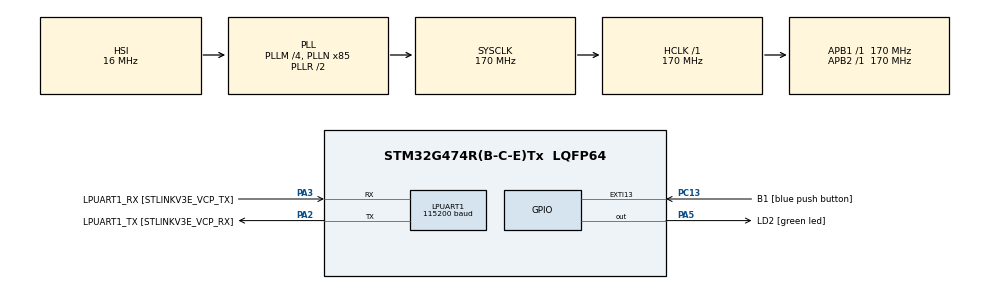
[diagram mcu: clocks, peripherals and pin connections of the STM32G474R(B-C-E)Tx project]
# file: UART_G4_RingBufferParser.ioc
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LPUART1.BaudRate=115200
Mcu.Family=STM32G4
Mcu.Name=STM32G474R(B-C-E)Tx
Mcu.Package=LQFP64
NVIC.EXTI15_10_IRQn=true\:0\:0\:false\:true\:true\:1\:true\:true\:true
NVIC.LPUART1_IRQn=true\:0\:0\:false\:true\:true\:2\:true\:true\:true
NVIC.PriorityGroup=NVIC_PRIORITYGROUP_4
PA13.GPIO_Label=T_SWDIO
PA13.Mode=Trace_Asynchronous_SW
PA13.Signal=SYS_JTMS-SWDIO
PA14.GPIO_Label=T_SWCLK
PA14.Mode=Trace_Asynchronous_SW
PA14.Signal=SYS_JTCK-SWCLK
PA2.GPIO_Label=LPUART1_TX [STLINKV3E_VCP_RX]
PA2.Mode=Multiprocessor_communication
PA2.Signal=LPUART1_TX
PA3.GPIO_Label=LPUART1_RX [STLINKV3E_VCP_TX]
PA3.Mode=Multiprocessor_communication
PA3.Signal=LPUART1_RX
PA5.GPIO_Label=LD2 [green led]
PA5.Signal=GPIO_Output
PB3.GPIO_Label=T_SWO
PB3.Mode=Trace_Asynchronous_SW
PB3.Signal=SYS_JTDO-SWO
PC13.GPIO_Label=B1 [blue push button]
PC13.Signal=GPXTI13
PC14-OSC32_IN.GPIO_Label=RCC_OSC32_IN
PC14-OSC32_IN.Mode=LSE-External-Oscillator
PC14-OSC32_IN.Signal=RCC_OSC32_IN
PC15-OSC32_OUT.GPIO_Label=RCC_OSC32_OUT
PC15-OSC32_OUT.Mode=LSE-External-Oscillator
PC15-OSC32_OUT.Signal=RCC_OSC32_OUT
PF0-OSC_IN.GPIO_Label=RCC_OSC_IN
PF0-OSC_IN.Mode=HSE-External-Oscillator
PF0-OSC_IN.Signal=RCC_OSC_IN
PF1-OSC_OUT.GPIO_Label=RCC_OSC_OUT
PF1-OSC_OUT.Mode=HSE-External-Oscillator
PF1-OSC_OUT.Signal=RCC_OSC_OUT
ProjectManager.HeapSize=0x200
ProjectManager.StackSize=0x400
ProjectManager.TargetToolchain=STM32CubeIDE
RCC.ADC12Freq_Value=170000000
RCC.ADC345Freq_Value=170000000
RCC.AHBFreq_Value=170000000
RCC.APB1Freq_Value=170000000
RCC.APB1TimFreq_Value=170000000
RCC.APB2Freq_Value=170000000
RCC.APB2TimFreq_Value=170000000
RCC.CortexFreq_Value=170000000
RCC.EXTERNAL_CLOCK_VALUE=12288000
RCC.HCLKFreq_Value=170000000
RCC.HSE_VALUE=24000000
RCC.HSI48_VALUE=48000000
RCC.HSI_VALUE=16000000
RCC.PLLM=RCC_PLLM_DIV4
RCC.PLLN=85
RCC.RTCClockSelection=RCC_RTCCLKSOURCE_LSE
RCC.SYSCLKFreq_VALUE=170000000
RCC.SYSCLKSource=RCC_SYSCLKSOURCE_PLLCLK
RCC.USBFreq_Value=170000000
RCC.VCOOutputFreq_Value=340000000
VP_SYS_VS_DBSignals.Mode=DisableDeadBatterySignals
board=NUCLEO-G474RE

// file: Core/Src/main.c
/* USER CODE BEGIN Header */
/**
  ******************************************************************************
  * @file           : main.c
  * @brief          : Main program body
  ******************************************************************************
  * @attention
  *
  * Copyright (c) 2024 STMicroelectronics.
  * All rights reserved.
  *
  * This software is licensed under terms that can be found in the LICENSE file
  * in the root directory of this software component.
  * If no LICENSE file comes with this software, it is provided AS-IS.
  *
  ******************************************************************************
  */
/* USER CODE END Header */
#include "main.h"
#include "usart.h"
#include "gpio.h"

/* USER CODE BEGIN Includes */
#include "stdint.h"
#include "stdio.h"
#include "string.h"

#include "ring_buffer.h"
#include "parser_complex.h"

/* USER CODE END Includes */

/* USER CODE BEGIN PV */
uint8_t TmpReceived; // Buffer to receive 1 byte via LPUART1

uint8_t receivedLines; // Lines received from LPUART

RingBuffer_t RingBuffer; // Init Ring Buffer object

uint8_t ReceivedData[32]; // A buffer for parsing data
/* USER CODE END PV */

void SystemClock_Config(void);
static void MX_NVIC_Init(void);

int main(void)
{

  /* MCU Configuration--------------------------------------------------------*/

  /* Reset of all peripherals, Initializes the Flash interface and the Systick. */
  HAL_Init();

  /* Configure the system clock */
  SystemClock_Config();

  /* Initialize all configured peripherals */
  MX_GPIO_Init();
  MX_LPUART1_UART_Init();

  /* Initialize interrupts */
  MX_NVIC_Init();
  /* USER CODE BEGIN 2 */

  // Start listening for IRQ on LPUART1
  //    Callback will be handled in the User Code 4
  HAL_UART_Receive_IT(&hlpuart1, &TmpReceived, 1);

  /* USER CODE END 2 */

  /* Infinite loop */
  /* USER CODE BEGIN WHILE */
  while (1)
  {

	  if(receivedLines > 0)
	  {

		  Parser_handleLine(&RingBuffer, ReceivedData);

		  receivedLines--;

		  Parser_Parse(ReceivedData);
	  }

    /* USER CODE END WHILE */

  }
}

void SystemClock_Config(void)
{
  RCC_OscInitTypeDef RCC_OscInitStruct = {0};
  RCC_ClkInitTypeDef RCC_ClkInitStruct = {0};

  /** Configure the main internal regulator output voltage
  */
  HAL_PWREx_ControlVoltageScaling(PWR_REGULATOR_VOLTAGE_SCALE1_BOOST);

  /** Initializes the RCC Oscillators according to the specified parameters
  * in the RCC_OscInitTypeDef structure.
  */
  RCC_OscInitStruct.OscillatorType = RCC_OSCILLATORTYPE_HSI;
  RCC_OscInitStruct.HSIState = RCC_HSI_ON;
  RCC_OscInitStruct.HSICalibrationValue = RCC_HSICALIBRATION_DEFAULT;
  RCC_OscInitStruct.PLL.PLLState = RCC_PLL_ON;
  RCC_OscInitStruct.PLL.PLLSource = RCC_PLLSOURCE_HSI;
  RCC_OscInitStruct.PLL.PLLM = RCC_PLLM_DIV4;
  RCC_OscInitStruct.PLL.PLLN = 85;
  RCC_OscInitStruct.PLL.PLLP = RCC_PLLP_DIV2;
  RCC_OscInitStruct.PLL.PLLQ = RCC_PLLQ_DIV2;
  RCC_OscInitStruct.PLL.PLLR = RCC_PLLR_DIV2;
  if (HAL_RCC_OscConfig(&RCC_OscInitStruct) != HAL_OK)
  {
    Error_Handler();
  }

  /** Initializes the CPU, AHB and APB buses clocks
  */
  RCC_ClkInitStruct.ClockType = RCC_CLOCKTYPE_HCLK|RCC_CLOCKTYPE_SYSCLK
                              |RCC_CLOCKTYPE_PCLK1|RCC_CLOCKTYPE_PCLK2;
  RCC_ClkInitStruct.SYSCLKSource = RCC_SYSCLKSOURCE_PLLCLK;
  RCC_ClkInitStruct.AHBCLKDivider = RCC_SYSCLK_DIV1;
  RCC_ClkInitStruct.APB1CLKDivider = RCC_HCLK_DIV1;
  RCC_ClkInitStruct.APB2CLKDivider = RCC_HCLK_DIV1;

  if (HAL_RCC_ClockConfig(&RCC_ClkInitStruct, FLASH_LATENCY_4) != HAL_OK)
  {
    Error_Handler();
  }
}

/**
  * @brief NVIC Configuration.
  * @retval None
  */
static void MX_NVIC_Init(void)
{
  /* EXTI15_10_IRQn interrupt configuration */
  HAL_NVIC_SetPriority(EXTI15_10_IRQn, 0, 0);
  HAL_NVIC_EnableIRQ(EXTI15_10_IRQn);
  /* LPUART1_IRQn interrupt configuration */
  HAL_NVIC_SetPriority(LPUART1_IRQn, 0, 0);
  HAL_NVIC_EnableIRQ(LPUART1_IRQn);
}

/* USER CODE BEGIN 4 */
void HAL_UART_RxCpltCallback(UART_HandleTypeDef *huart)
{
	// Checking if Callback from lpuart1
	if(huart->Instance == LPUART1)
	{
		// Try to write byte to the ring buffer
		if(RB_OK == RingBuffer_Write(&RingBuffer, TmpReceived))
		{
			if(TmpReceived == ENDLINE)
			{
				receivedLines++;
			}
		}

		// Re-enable lpuart1 to receive next byte from interrupt
		HAL_UART_Receive_IT(&hlpuart1, &TmpReceived, 1);
	}
}
/* USER CODE END 4 */

void Error_Handler(void)
{
  __disable_irq();
  while (1)
  {
  }
}
